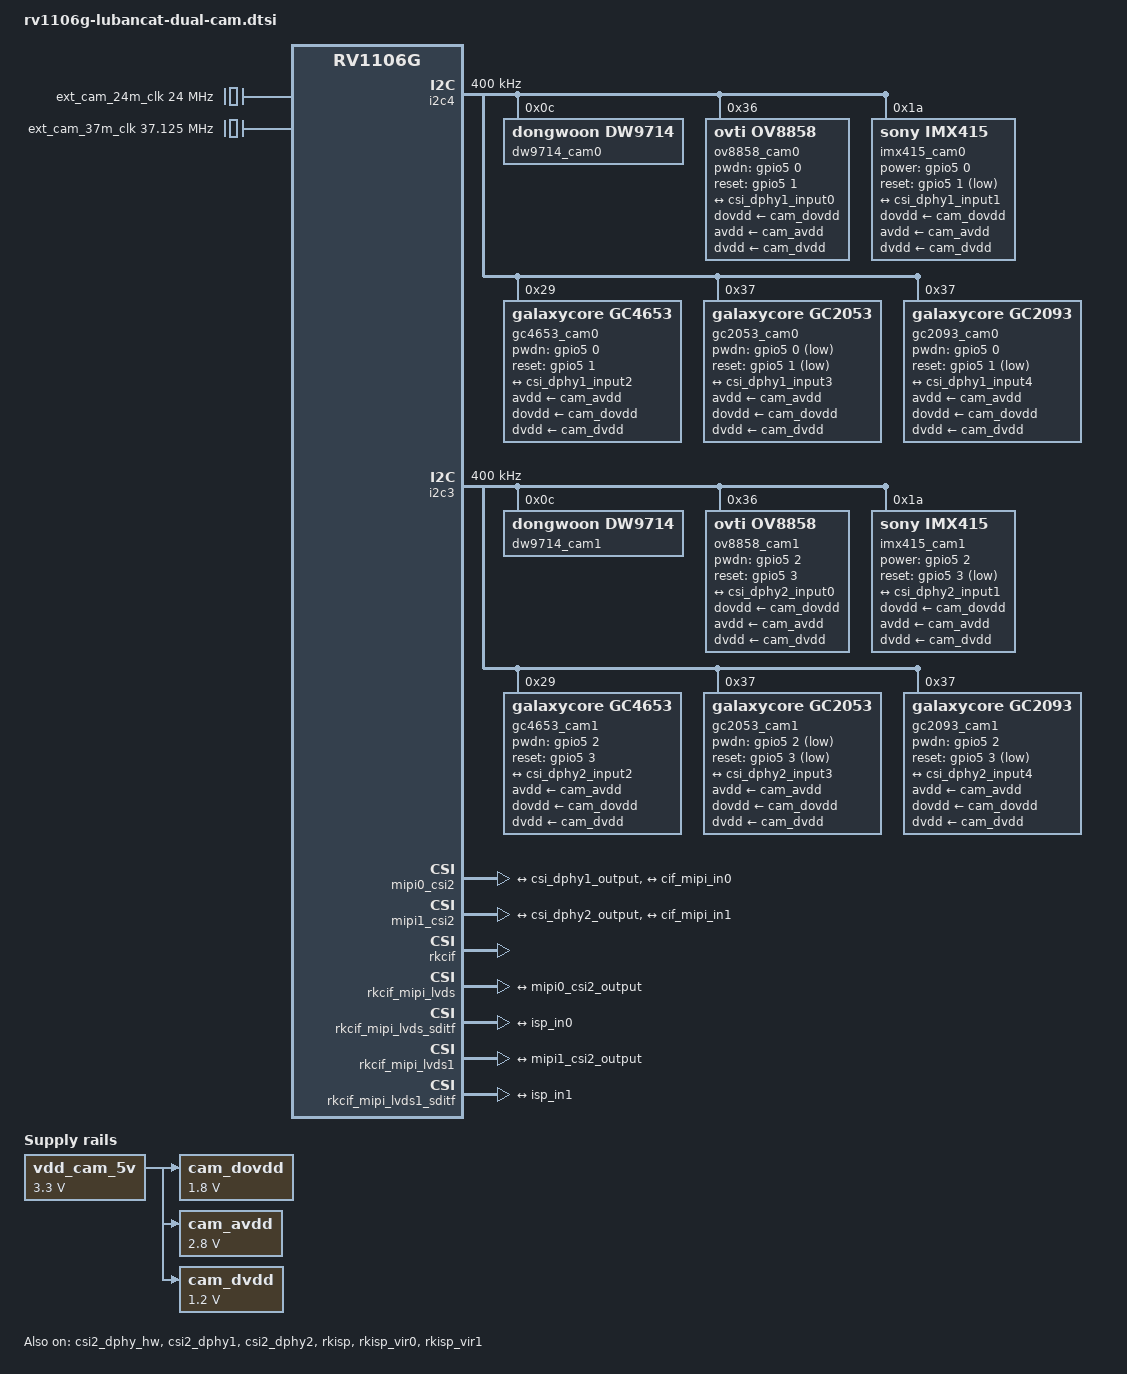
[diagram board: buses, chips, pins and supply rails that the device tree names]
// SPDX-License-Identifier: (GPL-2.0+ OR MIT)


/{
	ext_cam_24m_clk: external-camera-24m-clock {
		compatible = "fixed-clock";
		#clock-cells = <0>;
		clock-frequency = <24000000>;
		clock-output-names = "ext_cam_24m_clk";
	}; 

	ext_cam_37m_clk: external-camera-37m-clock {
		compatible = "fixed-clock";
		clock-frequency = <37125000>;
		clock-output-names = "ext_cam_37m_clk";
		#clock-cells = <0>;
	};

	vdd_cam_5v: vdd-cam-5v-regulator {
		compatible = "regulator-fixed";
		regulator-name = "vdd_cam_5v";
		regulator-always-on;
		regulator-boot-on;
		regulator-min-microvolt = <3300000>;
		regulator-max-microvolt = <3300000>;
	};

	cam_dovdd: cam-dovdd {
		compatible = "regulator-fixed";
		regulator-name = "cam_dovdd";
		regulator-always-on;
		regulator-boot-on;
		regulator-min-microvolt = <1800000>;
		regulator-max-microvolt = <1800000>;
		vin-supply = <&vdd_cam_5v>;
	};

	cam_avdd: cam-avdd {
		compatible = "regulator-fixed";
		regulator-name = "cam_avdd";
		regulator-always-on;
		regulator-boot-on;
		regulator-min-microvolt = <2800000>;
		regulator-max-microvolt = <2800000>;
		vin-supply = <&vdd_cam_5v>;
	};

	cam_dvdd: cam-dvdd {
		compatible = "regulator-fixed";
		regulator-name = "cam_dvdd";
		regulator-always-on;
		regulator-boot-on;
		regulator-min-microvolt = <1200000>;
		regulator-max-microvolt = <1200000>;
		vin-supply = <&vdd_cam_5v>;
	};
};


&csi2_dphy_hw {
	status = "okay";
};

&csi2_dphy1 {
	status = "okay";

	ports {
		#address-cells = <1>;
		#size-cells = <0>;

		port@0 {
			reg = <0>;
			#address-cells = <1>;
			#size-cells = <0>;

			csi_dphy1_input0: endpoint@0 {
				reg = <0>;
				remote-endpoint = <&ov8858_cam0_out>;
				data-lanes = <1 2>;
			};

			csi_dphy1_input1: endpoint@1 {
				reg = <1>;
				remote-endpoint = <&imx415_cam0_out>;
				data-lanes = <1 2>;
			};

			csi_dphy1_input2: endpoint@2 {
				reg = <2>;
				remote-endpoint = <&gc4653_cam0_out>;
				data-lanes = <1 2>;
			};

			csi_dphy1_input3: endpoint@3 {
				reg = <3>;
				remote-endpoint = <&gc2053_cam0_out>;
				data-lanes = <1 2>;
			};

			csi_dphy1_input4: endpoint@4 {
				reg = <4>;
				remote-endpoint = <&gc2093_cam0_out>;
				data-lanes = <1 2>;
			};
		};

		port@1 {
			reg = <1>;
			#address-cells = <1>;
			#size-cells = <0>;

			csi_dphy1_output: endpoint@0 {
				reg = <0>;
				remote-endpoint = <&mipi0_csi2_input>;
			};
		};
	};
};

&csi2_dphy2 {
	status = "okay";

	ports {
		#address-cells = <1>;
		#size-cells = <0>;

		port@0 {
			reg = <0>;
			#address-cells = <1>;
			#size-cells = <0>;

			csi_dphy2_input0: endpoint@0 {
				reg = <0>;
				remote-endpoint = <&ov8858_cam1_out>;
				data-lanes = <1 2>;
			};

			csi_dphy2_input1: endpoint@1 {
				reg = <1>;
				remote-endpoint = <&imx415_cam1_out>;
				data-lanes = <1 2>;
			};
	
			csi_dphy2_input2: endpoint@2 {
				reg = <2>;
				remote-endpoint = <&gc4653_cam1_out>;
				data-lanes = <1 2>;
			};

			csi_dphy2_input3: endpoint@3 {
				reg = <3>;
				remote-endpoint = <&gc2053_cam1_out>;
				data-lanes = <1 2>;
			};

			csi_dphy2_input4: endpoint@4 {
				reg = <4>;
				remote-endpoint = <&gc2093_cam1_out>;
				data-lanes = <1 2>;
			};

		};

		port@1 {
			reg = <1>;
			#address-cells = <1>;
			#size-cells = <0>;

			csi_dphy2_output: endpoint@0 {
				reg = <0>;
				remote-endpoint = <&mipi1_csi2_input>;
			};
		};
	};
};

&i2c4 {
	status = "okay";
	clock-frequency = <400000>;
	pinctrl-names = "default";
	pinctrl-0 = <&i2c4m2_xfer>;

	dw9714_cam0: dw9714-cam0@c {
		status = "okay";
		compatible = "dongwoon,dw9714";
		reg = <0xc>;
		rockchip,camera-module-index = <0>;
		rockchip,vcm-max-current = <100>;
		rockchip,vcm-start-current = <0>;
		rockchip,vcm-rated-current = <100>;
		rockchip,vcm-step-mode = <0xd>;
		rockchip,vcm-dlc-enable = <0>;
		rockchip,vcm-mclk = <0>;	
		rockchip,vcm-t-src = <0>;
		rockchip,camera-module-facing = "back";
	};

	ov8858_cam0: ov8858-cam0@36 {
		compatible = "ovti,ov8858";
		status = "okay";
		reg = <0x36>;
		clocks = <&ext_cam_24m_clk>;
		clock-names = "xvclk";
		pwdn-gpios = <&gpio5 0 GPIO_ACTIVE_HIGH>;
		reset-gpios = <&gpio5 1 GPIO_ACTIVE_HIGH>;

		dovdd-supply= <&cam_dovdd>; /* 1.8v */
		avdd-supply = <&cam_avdd>;  /* 2.8v */
		dvdd-supply = <&cam_dvdd>;  /* 1.2v */

		rockchip,camera-module-index = <0>;
		rockchip,camera-module-facing = "back";
		rockchip,camera-module-name = "HS5885-BNSM1018-V01";
		rockchip,camera-module-lens-name = "default";
		lens-focus = <&dw9714_cam0>;

		port {
			/* MIPI CSI-2 bus endpoint */
			ov8858_cam0_out: endpoint {
				remote-endpoint = <&csi_dphy1_input0>;
				data-lanes = <1 2>;
			};
		};
	};

	imx415_cam0: imx415-cam0@1a {
		compatible = "sony,imx415";
		status = "okay";
		reg = <0x1a>;
		clocks = <&ext_cam_37m_clk>;
		clock-names = "xvclk";
		power-gpios = <&gpio5 0 GPIO_ACTIVE_HIGH>;
		reset-gpios = <&gpio5 1 GPIO_ACTIVE_LOW>;

		dovdd-supply= <&cam_dovdd>; /* 1.8v */
		avdd-supply = <&cam_avdd>;  /* 2.8v */
		dvdd-supply = <&cam_dvdd>;  /* 1.2v */

		rockchip,camera-module-index = <0>;
		rockchip,camera-module-facing = "back";
		rockchip,camera-module-name = "CMK-OT2022-PX1";
		rockchip,camera-module-lens-name = "IR0147-50IRC-8M-F20";
		rockchip,imx415-capture-mode=<1>; /* 1920x1080 */
		port {
			imx415_cam0_out: endpoint {
				remote-endpoint = <&csi_dphy1_input1>;
				data-lanes = <1 2>;
			};
		};
	};

	gc4653_cam0: gc4653-cam0@29 {
		compatible = "galaxycore,gc4653";
		status = "okay";
		reg = <0x29>;
		clocks = <&ext_cam_24m_clk>;
		clock-names = "xvclk";

		avdd-supply = <&cam_avdd>;
		dovdd-supply = <&cam_dovdd>;
		dvdd-supply = <&cam_dvdd>;
		pwdn-gpios = <&gpio5 0 GPIO_ACTIVE_HIGH>;
		reset-gpios = <&gpio5 1 GPIO_ACTIVE_HIGH>;

		rockchip,camera-module-index = <0>;
		rockchip,camera-module-facing = "front";
		rockchip,camera-module-name = "YT10120";
		rockchip,camera-module-lens-name = "30IRC-4M-F20";

		// NO_HDR:0 HDR_X2:5 HDR_X3:6
		// rockchip,camera-hdr-mode = <0>;
		port {
			gc4653_cam0_out: endpoint {
				remote-endpoint = <&csi_dphy1_input2>;
				data-lanes = <1 2>;
			};
		};
	};

	gc2053_cam0: gc2053-cam0@37 {
		compatible = "galaxycore,gc2053";
		status = "okay";
		reg = <0x37>;
		clocks = <&ext_cam_24m_clk>;
		clock-names = "xvclk";

		avdd-supply = <&cam_avdd>;
		dovdd-supply = <&cam_dovdd>;
		dvdd-supply = <&cam_dvdd>;

		pwdn-gpios = <&gpio5 0 GPIO_ACTIVE_LOW>;
		reset-gpios = <&gpio5 1 GPIO_ACTIVE_LOW>;

		rockchip,camera-module-index = <0>;
		rockchip,camera-module-facing = "back";
		rockchip,camera-module-name = "CMK-OT2274-V10";
		rockchip,camera-module-lens-name = "28IRC-F20";
		port {
			gc2053_cam0_out: endpoint {
				remote-endpoint = <&csi_dphy1_input3>;
				data-lanes = <1 2>;
			};
		};
	};

	gc2093_cam0: gc2093-cam0@37 {
		compatible = "galaxycore,gc2093";
		status = "okay";
		reg = <0x37>;
		clocks = <&ext_cam_24m_clk>;
		clock-names = "xvclk";

		avdd-supply = <&cam_avdd>;
		dovdd-supply = <&cam_dovdd>;
		dvdd-supply = <&cam_dvdd>;

		pwdn-gpios = <&gpio5 0 GPIO_ACTIVE_HIGH>;
		reset-gpios = <&gpio5 1 GPIO_ACTIVE_LOW>;

		rockchip,camera-module-index = <0>;
		rockchip,camera-module-facing = "back";
		rockchip,camera-module-name = "SIDA209300461";
		rockchip,camera-module-lens-name = "60IRC_F20";

		port {
			gc2093_cam0_out: endpoint {
				remote-endpoint = <&csi_dphy1_input4>;
				data-lanes = <1 2>;
			};
		};
	};
};

&i2c3 {
    status = "okay";
    clock-frequency = <400000>;
    pinctrl-names = "default";
    pinctrl-0 = <&i2c3m2_xfer>;

	dw9714_cam1: dw9714-cam1@c {
		status = "okay";
		compatible = "dongwoon,dw9714";
		reg = <0xc>;
		rockchip,camera-module-index = <0>;
		rockchip,vcm-max-current = <100>;
		rockchip,vcm-start-current = <0>;
		rockchip,vcm-rated-current = <100>;
		rockchip,vcm-step-mode = <0xd>;
		rockchip,vcm-dlc-enable = <0>;
		rockchip,vcm-mclk = <0>;	
		rockchip,vcm-t-src = <0>;
		rockchip,camera-module-facing = "back";
	};

	ov8858_cam1: ov8858-cam1@36 {
		compatible = "ovti,ov8858";
		status = "okay";
		reg = <0x36>;
		clocks = <&ext_cam_24m_clk>;
		clock-names = "xvclk";
		pwdn-gpios = <&gpio5 2 GPIO_ACTIVE_HIGH>;
		reset-gpios = <&gpio5 3 GPIO_ACTIVE_HIGH>;

		dovdd-supply= <&cam_dovdd>; /* 1.8v */
		avdd-supply = <&cam_avdd>;  /* 2.8v */
		dvdd-supply = <&cam_dvdd>;  /* 1.2v */

		rockchip,camera-module-index = <1>;
		rockchip,camera-module-facing = "back";
		rockchip,camera-module-name = "HS5885-BNSM1018-V01";
		rockchip,camera-module-lens-name = "default";
		lens-focus = <&dw9714_cam0>;

		port {
			/* MIPI CSI-2 bus endpoint */
			ov8858_cam1_out: endpoint {
				remote-endpoint = <&csi_dphy2_input0>;
				data-lanes = <1 2>;
			};
		};
	};

	imx415_cam1: imx415-cam1@1a {
		compatible = "sony,imx415";
		status = "okay";
		reg = <0x1a>;
		clocks = <&ext_cam_37m_clk>;
		clock-names = "xvclk";
		power-gpios = <&gpio5 2 GPIO_ACTIVE_HIGH>;
		reset-gpios = <&gpio5 3 GPIO_ACTIVE_LOW>;

		dovdd-supply= <&cam_dovdd>; /* 1.8v */
		avdd-supply = <&cam_avdd>;  /* 2.8v */
		dvdd-supply = <&cam_dvdd>;  /* 1.2v */

		rockchip,camera-module-index = <1>;
		rockchip,camera-module-facing = "back";
		rockchip,camera-module-name = "CMK-OT2022-PX1";
		rockchip,camera-module-lens-name = "IR0147-50IRC-8M-F20";
		rockchip,imx415-capture-mode=<1>; /* 1920x1080 */
		port {
			imx415_cam1_out: endpoint {
				remote-endpoint = <&csi_dphy2_input1>;
				data-lanes = <1 2>;
			};
		};
	};

	gc4653_cam1: gc4653-cam1@29 {
		compatible = "galaxycore,gc4653";
		status = "okay";
		reg = <0x29>;
		clocks = <&ext_cam_24m_clk>;
		clock-names = "xvclk";

		avdd-supply = <&cam_avdd>;
		dovdd-supply = <&cam_dovdd>;
		dvdd-supply = <&cam_dvdd>;
		pwdn-gpios = <&gpio5 2 GPIO_ACTIVE_HIGH>;
		reset-gpios = <&gpio5 3 GPIO_ACTIVE_HIGH>;

		rockchip,camera-module-index = <1>;
		rockchip,camera-module-facing = "front";
		rockchip,camera-module-name = "YT10120";
		rockchip,camera-module-lens-name = "30IRC-4M-F20";

		// NO_HDR:0 HDR_X2:5 HDR_X3:6
		// rockchip,camera-hdr-mode = <0>;
		port {
			gc4653_cam1_out: endpoint {
				remote-endpoint = <&csi_dphy2_input2>;
				data-lanes = <1 2>;
			};
		};
	};

	gc2053_cam1: gc2053-cam1@37 {
		compatible = "galaxycore,gc2053";
		status = "okay";
		reg = <0x37>;
		clocks = <&ext_cam_24m_clk>;
		clock-names = "xvclk";

		avdd-supply = <&cam_avdd>;
		dovdd-supply = <&cam_dovdd>;
		dvdd-supply = <&cam_dvdd>;

		pwdn-gpios = <&gpio5 2 GPIO_ACTIVE_LOW>;
		reset-gpios = <&gpio5 3 GPIO_ACTIVE_LOW>;

		rockchip,camera-module-index = <1>;
		rockchip,camera-module-facing = "back";
		rockchip,camera-module-name = "CMK-OT2274-V10";
		rockchip,camera-module-lens-name = "28IRC-F20";
		port {
			gc2053_cam1_out: endpoint {
				remote-endpoint = <&csi_dphy2_input3>;
				data-lanes = <1 2>;
			};
		};
	};

	gc2093_cam1: gc2093-cam1@37 {
		compatible = "galaxycore,gc2093";
		status = "okay";
		reg = <0x37>;
		clocks = <&ext_cam_24m_clk>;
		clock-names = "xvclk";

		avdd-supply = <&cam_avdd>;
		dovdd-supply = <&cam_dovdd>;
		dvdd-supply = <&cam_dvdd>;

		pwdn-gpios = <&gpio5 2 GPIO_ACTIVE_HIGH>;
		reset-gpios = <&gpio5 3 GPIO_ACTIVE_LOW>;

		rockchip,camera-module-index = <1>;
		rockchip,camera-module-facing = "back";
		rockchip,camera-module-name = "SIDA209300461";
		rockchip,camera-module-lens-name = "60IRC_F20";

		port {
			gc2093_cam1_out: endpoint {
				remote-endpoint = <&csi_dphy2_input4>;
				data-lanes = <1 2>;
			};
		};
	};

};

&mipi0_csi2 {
	status = "okay";

	ports {
		#address-cells = <1>;
		#size-cells = <0>;

		port@0 {
			reg = <0>;
			#address-cells = <1>;
			#size-cells = <0>;

			mipi0_csi2_input: endpoint@1 {
				reg = <1>;
				remote-endpoint = <&csi_dphy1_output>;
			};
		};

		port@1 {
			reg = <1>;
			#address-cells = <1>;
			#size-cells = <0>;

			mipi0_csi2_output: endpoint@0 {
				reg = <0>;
				remote-endpoint = <&cif_mipi_in0>;
			};
		};
	};
};

&mipi1_csi2 {
	status = "okay";

	ports {
		#address-cells = <1>;
		#size-cells = <0>;

		port@0 {
			reg = <0>;
			#address-cells = <1>;
			#size-cells = <0>;

			mipi1_csi2_input: endpoint@1 {
				reg = <1>;
				remote-endpoint = <&csi_dphy2_output>;
			};
		};

		port@1 {
			reg = <1>;
			#address-cells = <1>;
			#size-cells = <0>;

			mipi1_csi2_output: endpoint@0 {
				reg = <0>;
				remote-endpoint = <&cif_mipi_in1>;
			};
		};
	};
};

&rkcif {
	status = "okay";
	pinctrl-names = "default";
	pinctrl-0 = <&mipi_pins>;
};

&rkcif_mipi_lvds {
	status = "okay";

	port {
		/* MIPI CSI-2 endpoint */
		cif_mipi_in0: endpoint {
			remote-endpoint = <&mipi0_csi2_output>;
		};
	};
};

&rkcif_mipi_lvds_sditf {
	status = "okay";

	port {
		/* MIPI CSI-2 endpoint */
		mipi_lvds0_sditf: endpoint {
			remote-endpoint = <&isp_in0>;
		};
	};
};

&rkcif_mipi_lvds1 {
	status = "okay";

	port {
		/* MIPI CSI-2 endpoint */
		cif_mipi_in1: endpoint {
			remote-endpoint = <&mipi1_csi2_output>;
		};
	};
};

&rkcif_mipi_lvds1_sditf {
	status = "okay";

	port {
		/* MIPI CSI-2 endpoint */
		mipi_lvds1_sditf: endpoint {
			remote-endpoint = <&isp_in1>;
		};
	};
};

&rkisp {
	status = "okay";
};

&rkisp_vir0 {
	status = "okay";

	port@0 {
		isp_in0: endpoint {
			remote-endpoint = <&mipi_lvds0_sditf>;
		};
	};
};

&rkisp_vir1 {
	status = "okay";

	port@0 {
		isp_in1: endpoint {
			remote-endpoint = <&mipi_lvds1_sditf>;
		};
	};
};
